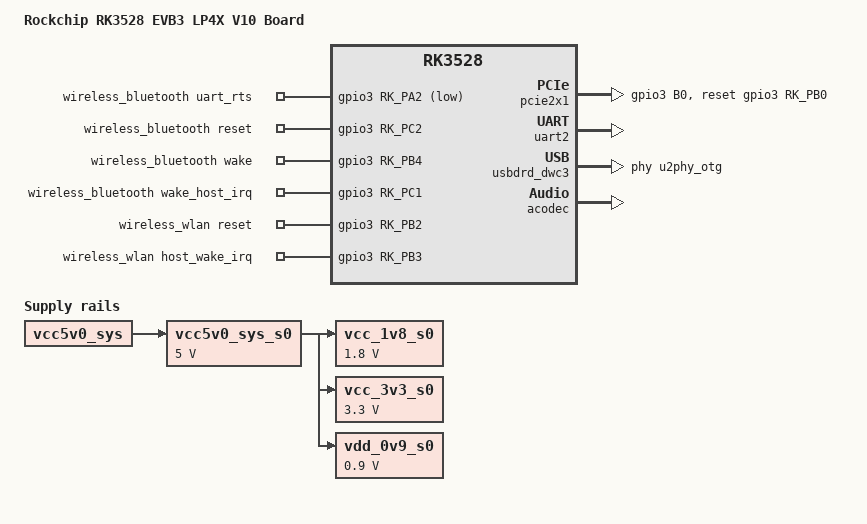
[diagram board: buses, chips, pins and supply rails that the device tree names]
// SPDX-License-Identifier: (GPL-2.0+ OR MIT)
/*
 * Copyright (c) 2022 Rockchip Electronics Co., Ltd.
 *
 */

/dts-v1/;

#include "rk3528.dtsi"
#include "rk3528-evb.dtsi"

/ {
	model = "Rockchip RK3528 EVB3 LP4X V10 Board";
	compatible = "rockchip,rk3528-evb3-lp4x-v10", "rockchip,rk3528";

	vcc5v0_sys_s0: vcc5v0-sys-s0 {
		compatible = "regulator-fixed";
		regulator-name = "vcc5v0_sys_s0";
		regulator-always-on;
		regulator-boot-on;
		regulator-min-microvolt = <5000000>;
		regulator-max-microvolt = <5000000>;
		vin-supply = <&vcc5v0_sys>;
	};

	vcc_1v8_s0: vcc-1v8-s0 {
		compatible = "regulator-fixed";
		regulator-name = "vcc_1v8_s0";
		regulator-always-on;
		regulator-boot-on;
		regulator-min-microvolt = <1800000>;
		regulator-max-microvolt = <1800000>;
		vin-supply = <&vcc5v0_sys_s0>;
	};

	vcc_3v3_s0: vcc-3v3-s0 {
		compatible = "regulator-fixed";
		regulator-name = "vcc_3v3";
		regulator-always-on;
		regulator-boot-on;
		regulator-min-microvolt = <3300000>;
		regulator-max-microvolt = <3300000>;
		vin-supply = <&vcc5v0_sys_s0>;
	};

	vdd_0v9_s0: vdd-0v9-s0 {
		compatible = "regulator-fixed";
		regulator-name = "vdd_0v9_s0";
		regulator-always-on;
		regulator-boot-on;
		regulator-min-microvolt = <900000>;
		regulator-max-microvolt = <900000>;
		vin-supply = <&vcc5v0_sys_s0>;
	};

	wireless_bluetooth: wireless-bluetooth {
		compatible = "bluetooth-platdata";
		uart_rts_gpios = <&gpio3 RK_PA2 GPIO_ACTIVE_LOW>;
		pinctrl-names = "default", "rts_gpio";
		pinctrl-0 = <&uart2m0_rtsn>;
		pinctrl-1 = <&uart2m0_gpios>;
		BT,reset_gpio    = <&gpio3 RK_PC2 GPIO_ACTIVE_HIGH>;
		BT,wake_gpio     = <&gpio3 RK_PB4 GPIO_ACTIVE_HIGH>;
		BT,wake_host_irq = <&gpio3 RK_PC1 GPIO_ACTIVE_HIGH>;
		status = "okay";
	};

	wireless_wlan: wireless-wlan {
		compatible = "wlan-platdata";
		rockchip,grf = <&grf>;
		wifi_chip_type = "ap6275p";
		pinctrl-names = "default";
		pinctrl-0 = <&wifi_enable &wifi_host_wake_irq &clkm0_32k_out>;
		WIFI,reset_gpio = <&gpio3 RK_PB2 GPIO_ACTIVE_HIGH>;
		WIFI,host_wake_irq = <&gpio3 RK_PB3 GPIO_ACTIVE_HIGH>;
		status = "okay";
	};
};

&pcie2x1 {
	reset-gpios = <&gpio3 RK_PB0 GPIO_ACTIVE_HIGH>;
	pinctrl-names = "default";
	pinctrl-0 = <&wifi_perst>;
	rockchip,skip-scan-in-resume;
	status = "okay";
};

&sai0 {
	pinctrl-0 = <&i2s0m0_lrck &i2s0m0_sclk &i2s0m0_sdi &i2s0m0_sdo>;
	status = "disabled";
};

&uart2 {
	status = "okay";
	pinctrl-names = "default";
	pinctrl-0 = <&uart2m0_xfer &uart2m0_ctsn>;
};

&usbdrd_dwc3 {
	phys = <&u2phy_otg>;
	phy-names = "usb2-phy";
	maximum-speed = "high-speed";
	snps,dis_u2_susphy_quirk;
	snps,usb2-lpm-disable;
};

&pinctrl {
	wireless-wlan {
		wifi_perst: wifi-perst {
			rockchip,pins = <3 RK_PB0 RK_FUNC_GPIO &pcfg_pull_up>;
		};

		wifi_enable: wifi-enable {
			rockchip,pins = <3 RK_PB2 RK_FUNC_GPIO &pcfg_output_high>;
		};

		wifi_host_wake_irq: wifi-host-wake-irq {
			rockchip,pins = <3 RK_PB3 RK_FUNC_GPIO &pcfg_pull_down>;
		};
	};

	wireless-bluetooth {
		uart2m0_gpios: uart2m0-gpios {
			rockchip,pins = <3 RK_PA2 RK_FUNC_GPIO &pcfg_pull_none>;
		};
	};
};

&acodec {
	pa-ctl-gpios = <&gpio3 RK_PA4 GPIO_ACTIVE_HIGH>;
	status = "okay";
};
